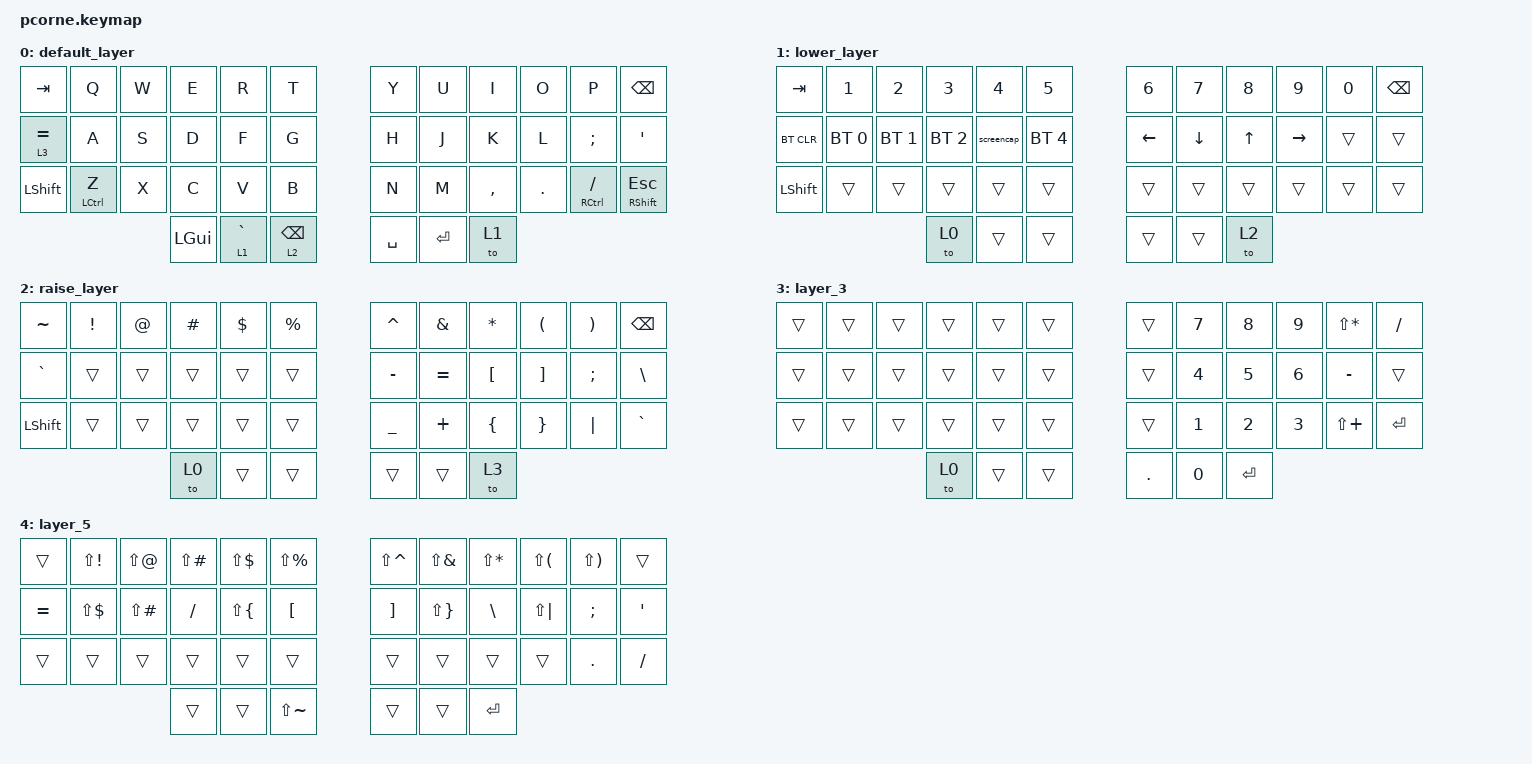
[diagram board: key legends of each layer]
/*
 * Copyright (c) 2020 The ZMK Contributors
 *
 * SPDX-License-Identifier: MIT
 */

#include <behaviors.dtsi>
#include <dt-bindings/zmk/bt.h>
#include <dt-bindings/zmk/keys.h>

/ {
    macros {
        screencap: screencap {
            compatible = "zmk,behavior-macro";
            #binding-cells = <0>;
            bindings = <&kp LGUI &kp LEFT_SHIFT &kp NUMBER_4>;
            label = "SCREENCAP";
        };
    };

    keymap {
        compatible = "zmk,keymap";

        default_layer {
            // -----------------------------------------------------------------------------------------
            // |  TAB |  Q  |  W  |  E  |  R  |  T  |   |  Y  |  U   |  I  |  O  |  P  | BKSP |
            // | CTRL |  A  |  S  |  D  |  F  |  G  |   |  H  |  J   |  K  |  L  |  ;  |  '   |
            // | SHFT |  Z  |  X  |  C  |  V  |  B  |   |  N  |  M   |  ,  |  .  |  /  | ESC  |
            //                    | GUI | LWR | SPC |   | ENT | RSE  | ALT |

            bindings = <
&kp TAB      &kp Q        &kp W  &kp E         &kp R        &kp T              &kp Y      &kp U      &kp I      &kp O    &kp P                    &kp BSPC
&lt 3 EQUAL  &kp A        &kp S  &kp D         &kp F        &kp G              &kp H      &kp J      &kp K      &kp L    &kp SEMI                 &kp SQT
&kp LSHFT    &mt LCTRL Z  &kp X  &kp C         &kp V        &kp B              &kp N      &kp M      &kp COMMA  &kp DOT  &mt RIGHT_CONTROL SLASH  &mt RIGHT_SHIFT ESCAPE
                                 &kp LEFT_GUI  &lt 1 GRAVE  &lt 2 BACKSPACE    &kp SPACE  &kp ENTER  &to 1
            >;
        };

        lower_layer {
            // -----------------------------------------------------------------------------------------
            // |  TAB |  1  |  2  |  3  |  4  |  5  |   |  6  |  7  |  8  |  9  |  0  | BKSP |
            // | BTCLR| BT1 | BT2 | BT3 | BT4 | BT5 |   | LFT | DWN |  UP | RGT |     |      |
            // | SHFT |     |     |     |     |     |   |     |     |     |     |     |      |
            //                    | GUI |     | SPC |   | ENT |     | ALT |

            bindings = <
&kp TAB     &kp N1        &kp N2        &kp N3        &kp N4      &kp N5          &kp N6    &kp N7    &kp N8  &kp N9     &kp N0  &kp BSPC
&bt BT_CLR  &bt BT_SEL 0  &bt BT_SEL 1  &bt BT_SEL 2  &screencap  &bt BT_SEL 4    &kp LEFT  &kp DOWN  &kp UP  &kp RIGHT  &trans  &trans
&kp LSHFT   &trans        &trans        &trans        &trans      &trans          &trans    &trans    &trans  &trans     &trans  &trans
                                        &to 0         &trans      &trans          &trans    &trans    &to 2
            >;
        };

        raise_layer {
            // -----------------------------------------------------------------------------------------
            // |  TAB |  !  |  @  |  #  |  $  |  %  |   |  ^  |  &  |  *  |  (  |  )  | BKSP |
            // | CTRL |     |     |     |     |     |   |  -  |  =  |  [  |  ]  |  \  |  `   |
            // | SHFT |     |     |     |     |     |   |  _  |  +  |  {  |  }  | "|" |  ~   |
            //                    | GUI |     | SPC |   | ENT |     | ALT |

            bindings = <
&kp TILDE  &kp EXCL  &kp AT  &kp HASH  &kp DLLR  &kp PRCNT    &kp CARET  &kp AMPS   &kp ASTRK  &kp LPAR  &kp RPAR       &kp BSPC
&kp GRAVE  &trans    &trans  &trans    &trans    &trans       &kp MINUS  &kp EQUAL  &kp LBKT   &kp RBKT  &kp SEMICOLON  &kp BACKSLASH
&kp LSHFT  &trans    &trans  &trans    &trans    &trans       &kp UNDER  &kp PLUS   &kp LBRC   &kp RBRC  &kp PIPE       &kp GRAVE
                             &to 0     &trans    &trans       &trans     &trans     &to 3
            >;
        };

        layer_3 {
            bindings = <
&trans  &trans  &trans  &trans  &trans  &trans    &trans      &kp N7  &kp N8     &kp N9  &kp LS(STAR)  &kp FSLH
&trans  &trans  &trans  &trans  &trans  &trans    &trans      &kp N4  &kp N5     &kp N6  &kp MINUS     &trans
&trans  &trans  &trans  &trans  &trans  &trans    &trans      &kp N1  &kp N2     &kp N3  &kp LS(PLUS)  &kp ENTER
                        &to 0   &trans  &trans    &kp PERIOD  &kp N0  &kp ENTER
            >;
        };

        layer_5 {
            bindings = <
&trans     &kp LS(EXCL)  &kp LS(AT)     &kp LS(POUND)  &kp LS(DLLR)  &kp LS(PRCNT)    &kp LS(CARET)  &kp LS(AMPS)  &kp LS(STAR)  &kp LS(LPAR)  &kp LS(RPAR)  &trans
&kp EQUAL  &kp LS(DLLR)  &kp LS(POUND)  &kp FSLH       &kp LS(LBRC)  &kp LBKT         &kp RBKT       &kp LS(RBRC)  &kp BSLH      &kp LS(PIPE)  &kp SEMI      &kp SQT
&trans     &trans        &trans         &trans         &trans        &trans           &trans         &trans        &trans        &trans        &kp DOT       &kp FSLH
                                        &trans         &trans        &kp LS(TILDE)    &trans         &trans        &kp ENTER
            >;
        };
    };
};
